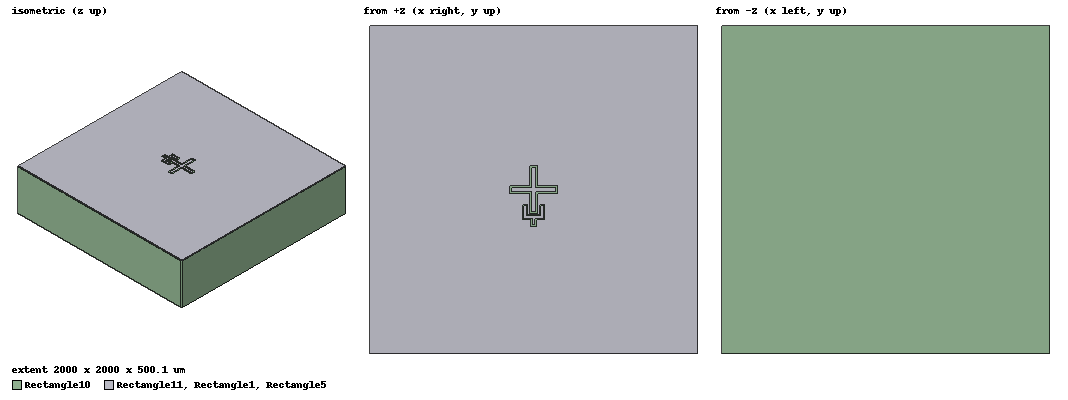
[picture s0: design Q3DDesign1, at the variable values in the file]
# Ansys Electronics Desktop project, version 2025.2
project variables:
  $cross_length = 264.24um
  $cross_gap = 12um
  $cross_width = 24um
  $claw_width_side = 20um
  $claw_width_2 = 15um
  $claw_gap = 9um
  $claw_length = 2*$claw_width_side+2*$claw_gap_inside+2*$gap_side+2*$cross_gap+$cross_width
  $gap = 10um
  $crosslength = 264.24um
  $claw_length_2 = 62um
  $gap_side = 10um
  $cpw_length = 40um
  $claw_gap_inside = 6um
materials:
  vacuum: permittivity=1
  copper: permeability=0.999991 conductivity=58000000
  silicon: permittivity=11.9
  pec: conductivity=1e+30

design Q3DDesign1 (Q3D Extractor, model units um)
options: SParamCalcMethod=EqTransLine Calculate_Lossy_Dielectrics
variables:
  cross_length = 132.12um
  cross = 300um
  cross_gap = 12um
  cross_width = 24um
  crosslength = cross_length
  claw_length_2 = 38um
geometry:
  Rectangle1 [pec] = rectangle(corner=(-cross_width/2, 0um, 0um), x_size=cross_width, y_size=cross_length)
  Rectangle1_1, Rectangle1_2, Rectangle1_3 = Rectangle1.duplicate_around_axis(axis=Z, angle=90deg, total=4)
  Rectangle1.unite(Rectangle1_3, Rectangle1_1, Rectangle1_2)
  Rectangle2 = rectangle(corner=(-($cross_width+2*$cross_gap)/2, -($cross_length+2*$cross_gap)/2, 0um), x_size=$cross_width+2*$cross_gap, y_size=$cross_length+2*$cross_gap)
  Rectangle2_1 = Rectangle2.duplicate_around_axis(axis=Z, angle=90deg, total=2)
  Rectangle2.unite(Rectangle2_1)
  Rectangle3 = rectangle(corner=(($cross_width/2+$cross_gap+$gap_side+$claw_gap_inside), -($crosslength/2+$cross_gap+$gap+$claw_gap_inside), 0um), x_size=$claw_width_side, y_size=$claw_length_2)
  Rectangle3_1 = Rectangle3.duplicate_mirror(point=(0um, -140um, 0um), normal=(-1um, 0um, 0um))
  Rectangle4 = rectangle(corner=(-$claw_length/2, -($cross_length/2+$cross_gap+$gap+$claw_gap_inside+$claw_width_2), 0um), x_size=$claw_length, y_size=$claw_width_2)
  Rectangle3_1.unite(Rectangle4, Rectangle3)
  Rectangle5 [pec] = rectangle(corner=(-$claw_width_2/2, -($cross_length/2+$cross_gap+$gap+$claw_gap_inside+$cpw_length+$claw_width_2), 0um), x_size=$claw_width_2, y_size=$cpw_length)
  Rectangle5.unite(Rectangle3_1)
  Rectangle6 = rectangle(corner=(($cross_width/2+$cross_gap+$gap_side), -($cross_length/2+$cross_gap+$gap+$claw_gap_inside), 0um), x_size=$claw_width_side+$claw_gap+$claw_gap_inside, y_size=$claw_length_2+$claw_gap)
  Rectangle6_1 = Rectangle6.duplicate_mirror(point=(0um, -150um, 0um), normal=(-1um, 0um, 0um))
  Rectangle8 = rectangle(corner=(-($claw_width_2+2*$claw_gap)/2, -($cross_length/2+$cross_gap+$gap+$claw_gap+$claw_width_2+$cpw_length+$claw_gap), 0um), x_size=$claw_width_2+2*$claw_gap, y_size=$cpw_length+$claw_gap)
  Rectangle9 = rectangle(corner=(-($claw_length+2*$claw_gap)/2, -($cross_length/2+$cross_gap+$gap+$claw_width_2+$claw_gap+$claw_gap_inside), 0um), x_size=$claw_length+2*$claw_gap, y_size=$claw_width_2+$claw_gap+$claw_gap_inside)
  Rectangle9.unite(Rectangle6_1, Rectangle6, Rectangle8)
  Rectangle10 [silicon] = rectangle(corner=(-1000um, -1000um, 0um), x_size=2000um, y_size=2000um)
  Rectangle10.thicken(-500um)
  [Rectangle1, Rectangle5].thicken(100nm)
  Rectangle11 [pec] = rectangle(corner=(-1000um, -1000um, 0um), x_size=2000um, y_size=2000um)
  Rectangle11.subtract(Rectangle2, Rectangle9)
  Rectangle11.thicken(100nm)
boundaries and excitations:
  Qubitt: SignalNet Objects=Rectangle1
  resonator: SignalNet Objects=Rectangle5
  GroundNet1: GroundNet Objects=Rectangle11
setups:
  Setup1: Matrix AdaptiveFreq=5.1156GHz Cap{MaxPass=20 MinPass=2 MinConvPass=2 PerError=1 PerRefine=30 AutoIncreaseAccuracy AccuracyLevel=High Solver_Type=Iterative} ErrorValue=0.1
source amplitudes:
  Qubitt: CG Fields 1V 0deg
  resonator: CG Fields 0V 0deg
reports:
  C Matrix Table 1: C(Qubitt,Qubitt), C(resonator,Qubitt), C(Qubitt,resonator), C(resonator,resonator) vs Freq on Setup1 : LastAdaptive [$gap=all $gap_side=all]
